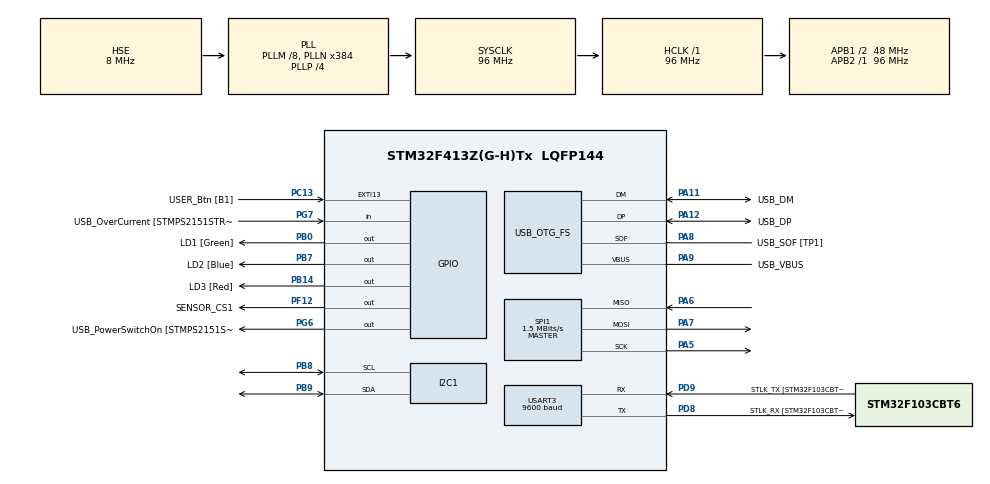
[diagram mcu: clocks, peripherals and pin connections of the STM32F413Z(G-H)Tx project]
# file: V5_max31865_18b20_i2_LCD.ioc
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Mcu.Family=STM32F4
Mcu.Name=STM32F413Z(G-H)Tx
Mcu.Package=LQFP144
NVIC.PriorityGroup=NVIC_PRIORITYGROUP_4
PA10.GPIO_Label=USB_ID
PA10.Signal=USB_OTG_FS_ID
PA11.GPIO_Label=USB_DM
PA11.Mode=Device_Only
PA11.Signal=USB_OTG_FS_DM
PA12.GPIO_Label=USB_DP
PA12.Mode=Device_Only
PA12.Signal=USB_OTG_FS_DP
PA13.GPIO_Label=TMS
PA13.Mode=Serial_Wire
PA13.Signal=SYS_JTMS-SWDIO
PA14.GPIO_Label=TCK
PA14.Mode=Serial_Wire
PA14.Signal=SYS_JTCK-SWCLK
PA5.Mode=Full_Duplex_Master
PA5.Signal=SPI1_SCK
PA6.Mode=Full_Duplex_Master
PA6.Signal=SPI1_MISO
PA7.Mode=Full_Duplex_Master
PA7.Signal=SPI1_MOSI
PA8.GPIO_Label=USB_SOF [TP1]
PA8.Mode=Activate_SOF_FS
PA8.Signal=USB_OTG_FS_SOF
PA9.GPIO_Label=USB_VBUS
PA9.Mode=Activate_VBUS
PA9.Signal=USB_OTG_FS_VBUS
PB0.GPIO_Label=LD1 [Green]
PB0.Signal=GPIO_Output
PB14.GPIO_Label=LD3 [Red]
PB14.Signal=GPIO_Output
PB3.GPIO_Label=SWO
PB3.Signal=SYS_JTDO-SWO
PB7.GPIO_Label=LD2 [Blue]
PB7.Signal=GPIO_Output
PB8.Mode=I2C
PB8.Signal=I2C1_SCL
PB9.Mode=I2C
PB9.Signal=I2C1_SDA
PC13.GPIO_Label=USER_Btn [B1]
PC13.Signal=GPXTI13
PC14-OSC32_IN.Mode=LSE-External-Oscillator
PC14-OSC32_IN.Signal=RCC_OSC32_IN
PC15-OSC32_OUT.Mode=LSE-External-Oscillator
PC15-OSC32_OUT.Signal=RCC_OSC32_OUT
PD8.GPIO_Label=STLK_RX [STM32F103CBT6_PA3]
PD8.Mode=Asynchronous
PD8.Signal=USART3_TX
PD9.GPIO_Label=STLK_TX [STM32F103CBT6_PA2]
PD9.Mode=Asynchronous
PD9.Signal=USART3_RX
PF12.GPIO_Label=SENSOR_CS1
PF12.Signal=GPIO_Output
PG6.GPIO_Label=USB_PowerSwitchOn [STMPS2151STR_EN]
PG6.Signal=GPIO_Output
PG7.GPIO_Label=USB_OverCurrent [STMPS2151STR_FAULT]
PG7.Signal=GPIO_Input
PH0\ -\ OSC_IN.GPIO_Label=MCO
PH0\ -\ OSC_IN.Mode=HSE-External-Clock-Source
PH0\ -\ OSC_IN.Signal=RCC_OSC_IN
PH1\ -\ OSC_OUT.Mode=HSE-External-Clock-Source
PH1\ -\ OSC_OUT.Signal=RCC_OSC_OUT
ProjectManager.HeapSize=0x600
ProjectManager.StackSize=0x400
ProjectManager.TargetToolchain=STM32CubeIDE
RCC.48MHZClocksFreq_Value=24000000
RCC.AHBFreq_Value=96000000
RCC.APB1CLKDivider=RCC_HCLK_DIV2
RCC.APB1Freq_Value=48000000
RCC.APB1TimFreq_Value=96000000
RCC.APB2Freq_Value=96000000
RCC.APB2TimFreq_Value=96000000
RCC.CortexFreq_Value=96000000
RCC.HCLKFreq_Value=96000000
RCC.HSE_VALUE=8000000
RCC.HSI_VALUE=16000000
RCC.PLLM=8
RCC.PLLMUL=RCC_PLL_MUL9
RCC.PLLN=384
RCC.PLLP=RCC_PLLP_DIV4
RCC.PLLQ=8
RCC.PRESCALERUSB=RCC_USBCLKSOURCE_PLL_DIV1_5
RCC.SYSCLKFreq_VALUE=96000000
RCC.SYSCLKSource=RCC_SYSCLKSOURCE_PLLCLK
RCC.SYSCLKSourceVirtual=RCC_SYSCLKSOURCE_PLLCLK
RCC.USBFreq_Value=48000000
RCC.VCOOutputFreq_Value=384000000
SPI1.BaudRatePrescaler=SPI_BAUDRATEPRESCALER_64
SPI1.CLKPhase=SPI_PHASE_2EDGE
SPI1.CalculateBaudRate=1.5 MBits/s
SPI1.Direction=SPI_DIRECTION_2LINES
SPI1.Mode=SPI_MODE_MASTER
SPI1.VirtualType=VM_MASTER
USART3.BaudRate=9600
USART3.VirtualMode=VM_ASYNC
USB_OTG_FS.VirtualMode=Device_Only
board=NUCLEO-F413ZH

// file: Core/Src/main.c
/* USER CODE BEGIN Header */
/**
  ******************************************************************************
  * @file           : main.c
  * @brief          : Main program body
  ******************************************************************************
  * @attention
  *
  * Copyright (c) 2023 STMicroelectronics.
  * All rights reserved.
  *
  * This software is licensed under terms that can be found in the LICENSE file
  * in the root directory of this software component.
  * If no LICENSE file comes with this software, it is provided AS-IS.
  *
  ******************************************************************************
  */
/* USER CODE END Header */
#include "main.h"

/* USER CODE BEGIN Includes */

#include "APP_FSM.h"

#include "API_delay.h"
#include "API_debounce.h"
#include "API_uart.h"
#include "API_LCD_I2C.h"
#include "API_usDelay.h"
#include "API_ds18b20.h"
#include "MAX31865.h"
/* USER CODE END Includes */

/* USER CODE BEGIN PD */

//===============Periodos en ms ====================
#define PERIOD_1 100
#define PERIOD_2 300

#define MENSAJE_I2C "caso1 "
#define MENSAJE_I2C_2 "caso2 "

/* USER CODE END PD */

I2C_HandleTypeDef hi2c1;

SPI_HandleTypeDef hspi1;

UART_HandleTypeDef huart3;

PCD_HandleTypeDef hpcd_USB_OTG_FS;

/* USER CODE BEGIN PV */

/* =============== Variables Definitions ====================== */
bool_t periodFlag = false;   //Bandera para conmutar entre DOS valores de Periodos
delay_t ledTimed;				//Estructura de temporizacion

/*
bool_t  inicioUart;
char uartString[50]=" ";
char lcdString[20]=" ";
char tempChar;
float	myTemp=0;
uint8_t intTemp=0;
float   pre_myTemp=0;
*/

/* ============================================================ */

/* USER CODE END PV */

void SystemClock_Config(void);
static void MX_GPIO_Init(void);
static void MX_USART3_UART_Init(void);
static void MX_USB_OTG_FS_PCD_Init(void);
static void MX_I2C1_Init(void);
static void MX_SPI1_Init(void);

int main(void)
{

  /* MCU Configuration--------------------------------------------------------*/

  /* Reset of all peripherals, Initializes the Flash interface and the Systick. */
  HAL_Init();

  /* USER CODE BEGIN Init */

  /* ========== APP Init ========== */
  APP_FSM_init();

  /* ============================== */

  /* ========== Init func ========== */
  /*
 	BSP_LED_Init(LED2);			// Se nicializa el LED2 onboard a traves de funciones de BSP

	debounceFSM_init();			// Se inicializa la maquina de estados del antirrebote de pulsador

	delayInit(&ledTimed, PERIOD_1);		// Se inicializa la estructura de temporizacion

	  lcd_begin ();
	  lcd_init ();
	  DWT_Delay_Init();

	  inicioUart = uartInit();			//inicializacion de la uart y captura de inicializacion correcta/incorrecta
	  if (!inicioUart)
	  {
		  ErrorHandler();			// en caso de inicializacion incorrecta se llava a la funcion de reporte de error
	  }

  */

  /* =========================================== */

  /* USER CODE END Init */

  /* Configure the system clock */
  SystemClock_Config();

  /* Initialize all configured peripherals */
  MX_GPIO_Init();
  MX_USART3_UART_Init();
  MX_USB_OTG_FS_PCD_Init();
  MX_I2C1_Init();
  MX_SPI1_Init();

  /* Infinite loop */
  /* USER CODE BEGIN WHILE */
  while (1)
  {
	  debounceFSM_update();		// actualiza la maquina de estados del antirrebote de pulsador

	  APP_FSM_update();

/*
	  myTemp = ds18b20_read_temp();

	 if (pre_myTemp != myTemp)
	 {
		 pre_myTemp = myTemp;
		 sprintf(lcdString, "%3.3f",myTemp);
		 lcd_clear();
		 lcd_put_cur(0, 0);
		 lcd_send_string (lcdString);
	 }

	  sprintf(uartString, "%3.3f\n\r",myTemp);
	  //DWT_Delay_us(42);
*/
	 	  	  if(readKey())							// ante la ocurrencia del preionado del pulsador se cambi el periodo del parpadeo de leds
	 	  	  	  {
	 	  		  	  if(periodFlag)					// una bandera se utiliza para conmutar el cambio de periodos de parpadeo
	 	  		  	  	  {
	 	  		  		  	  periodFlag=false;
	 	  		  		  	  delayWrite(&ledTimed, PERIOD_1);
	 	  		  		  	  //lcd_send_string (MENSAJE_I2C);
	 	  		  	  	  }
	 	  		  	  else
	 	  		  	  	  {
	 	  		  		  	  periodFlag=true;
	 	  		  			  delayWrite(&ledTimed, PERIOD_2);
	 	  		  			  //lcd_send_string (MENSAJE_I2C_2);
	 	  		  	  	  }
	 	  	  	  }

	 	  	  if(delayRead(&ledTimed))		// la funcion de temporizacion permite la inversion de estao de enciendido del led
	 	  	  	  {
	 	  		  	BSP_LED_Toggle(LED2);
	 	  		  	//intTemp =  myTemp;
	 	  		  	//sprintf(uartString, "%3.2f\n",myTemp);
	 	  		  	//uartSendString((uint8_t *) uartString);

	 	  		  	//myTemp++;
	 	  		  	//if(myTemp>250) myTemp=0;
	 	  	  	  }
	 //lcd_send_string (MENSAJE_I2C);
    /* USER CODE END WHILE */

  }
}

void SystemClock_Config(void)
{
  RCC_OscInitTypeDef RCC_OscInitStruct = {0};
  RCC_ClkInitTypeDef RCC_ClkInitStruct = {0};

  /** Configure the main internal regulator output voltage
  */
  __HAL_RCC_PWR_CLK_ENABLE();
  __HAL_PWR_VOLTAGESCALING_CONFIG(PWR_REGULATOR_VOLTAGE_SCALE1);

  /** Initializes the RCC Oscillators according to the specified parameters
  * in the RCC_OscInitTypeDef structure.
  */
  RCC_OscInitStruct.OscillatorType = RCC_OSCILLATORTYPE_HSE;
  RCC_OscInitStruct.HSEState = RCC_HSE_BYPASS;
  RCC_OscInitStruct.PLL.PLLState = RCC_PLL_ON;
  RCC_OscInitStruct.PLL.PLLSource = RCC_PLLSOURCE_HSE;
  RCC_OscInitStruct.PLL.PLLM = 8;
  RCC_OscInitStruct.PLL.PLLN = 384;
  RCC_OscInitStruct.PLL.PLLP = RCC_PLLP_DIV4;
  RCC_OscInitStruct.PLL.PLLQ = 8;
  RCC_OscInitStruct.PLL.PLLR = 2;
  if (HAL_RCC_OscConfig(&RCC_OscInitStruct) != HAL_OK)
  {
    Error_Handler();
  }

  /** Initializes the CPU, AHB and APB buses clocks
  */
  RCC_ClkInitStruct.ClockType = RCC_CLOCKTYPE_HCLK|RCC_CLOCKTYPE_SYSCLK
                              |RCC_CLOCKTYPE_PCLK1|RCC_CLOCKTYPE_PCLK2;
  RCC_ClkInitStruct.SYSCLKSource = RCC_SYSCLKSOURCE_PLLCLK;
  RCC_ClkInitStruct.AHBCLKDivider = RCC_SYSCLK_DIV1;
  RCC_ClkInitStruct.APB1CLKDivider = RCC_HCLK_DIV2;
  RCC_ClkInitStruct.APB2CLKDivider = RCC_HCLK_DIV1;

  if (HAL_RCC_ClockConfig(&RCC_ClkInitStruct, FLASH_LATENCY_3) != HAL_OK)
  {
    Error_Handler();
  }
}

static void MX_I2C1_Init(void)
{

  hi2c1.Instance = I2C1;
  hi2c1.Init.ClockSpeed = 100000;
  hi2c1.Init.DutyCycle = I2C_DUTYCYCLE_2;
  hi2c1.Init.OwnAddress1 = 0;
  hi2c1.Init.AddressingMode = I2C_ADDRESSINGMODE_7BIT;
  hi2c1.Init.DualAddressMode = I2C_DUALADDRESS_DISABLE;
  hi2c1.Init.OwnAddress2 = 0;
  hi2c1.Init.GeneralCallMode = I2C_GENERALCALL_DISABLE;
  hi2c1.Init.NoStretchMode = I2C_NOSTRETCH_DISABLE;
  if (HAL_I2C_Init(&hi2c1) != HAL_OK)
  {
    Error_Handler();
  }

}

static void MX_SPI1_Init(void)
{

  /* SPI1 parameter configuration*/
  hspi1.Instance = SPI1;
  hspi1.Init.Mode = SPI_MODE_MASTER;
  hspi1.Init.Direction = SPI_DIRECTION_2LINES;
  hspi1.Init.DataSize = SPI_DATASIZE_8BIT;
  hspi1.Init.CLKPolarity = SPI_POLARITY_LOW;
  hspi1.Init.CLKPhase = SPI_PHASE_2EDGE;
  hspi1.Init.NSS = SPI_NSS_SOFT;
  hspi1.Init.BaudRatePrescaler = SPI_BAUDRATEPRESCALER_64;
  hspi1.Init.FirstBit = SPI_FIRSTBIT_MSB;
  hspi1.Init.TIMode = SPI_TIMODE_DISABLE;
  hspi1.Init.CRCCalculation = SPI_CRCCALCULATION_DISABLE;
  hspi1.Init.CRCPolynomial = 10;
  if (HAL_SPI_Init(&hspi1) != HAL_OK)
  {
    Error_Handler();
  }

}

static void MX_USART3_UART_Init(void)
{

  huart3.Instance = USART3;
  huart3.Init.BaudRate = 9600;
  huart3.Init.WordLength = UART_WORDLENGTH_8B;
  huart3.Init.StopBits = UART_STOPBITS_1;
  huart3.Init.Parity = UART_PARITY_NONE;
  huart3.Init.Mode = UART_MODE_TX_RX;
  huart3.Init.HwFlowCtl = UART_HWCONTROL_NONE;
  huart3.Init.OverSampling = UART_OVERSAMPLING_16;
  if (HAL_UART_Init(&huart3) != HAL_OK)
  {
    Error_Handler();
  }

}

static void MX_USB_OTG_FS_PCD_Init(void)
{

  hpcd_USB_OTG_FS.Instance = USB_OTG_FS;
  hpcd_USB_OTG_FS.Init.dev_endpoints = 6;
  hpcd_USB_OTG_FS.Init.speed = PCD_SPEED_FULL;
  hpcd_USB_OTG_FS.Init.dma_enable = DISABLE;
  hpcd_USB_OTG_FS.Init.phy_itface = PCD_PHY_EMBEDDED;
  hpcd_USB_OTG_FS.Init.Sof_enable = ENABLE;
  hpcd_USB_OTG_FS.Init.low_power_enable = DISABLE;
  hpcd_USB_OTG_FS.Init.lpm_enable = DISABLE;
  hpcd_USB_OTG_FS.Init.battery_charging_enable = ENABLE;
  hpcd_USB_OTG_FS.Init.vbus_sensing_enable = ENABLE;
  hpcd_USB_OTG_FS.Init.use_dedicated_ep1 = DISABLE;
  if (HAL_PCD_Init(&hpcd_USB_OTG_FS) != HAL_OK)
  {
    Error_Handler();
  }

}

static void MX_GPIO_Init(void)
{
  GPIO_InitTypeDef GPIO_InitStruct = {0};

  /* GPIO Ports Clock Enable */
  __HAL_RCC_GPIOC_CLK_ENABLE();
  __HAL_RCC_GPIOH_CLK_ENABLE();
  __HAL_RCC_GPIOA_CLK_ENABLE();
  __HAL_RCC_GPIOB_CLK_ENABLE();
  __HAL_RCC_GPIOF_CLK_ENABLE();
  __HAL_RCC_GPIOD_CLK_ENABLE();
  __HAL_RCC_GPIOG_CLK_ENABLE();

  /*Configure GPIO pin Output Level */
  HAL_GPIO_WritePin(GPIOB, LD1_Pin|LD3_Pin|LD2_Pin, GPIO_PIN_RESET);

  /*Configure GPIO pin Output Level */
  HAL_GPIO_WritePin(SENSOR_CS1_GPIO_Port, SENSOR_CS1_Pin, GPIO_PIN_RESET);

  /*Configure GPIO pin Output Level */
  HAL_GPIO_WritePin(USB_PowerSwitchOn_GPIO_Port, USB_PowerSwitchOn_Pin, GPIO_PIN_RESET);

  /*Configure GPIO pin : USER_Btn_Pin */
  GPIO_InitStruct.Pin = USER_Btn_Pin;
  GPIO_InitStruct.Mode = GPIO_MODE_IT_RISING;
  GPIO_InitStruct.Pull = GPIO_NOPULL;
  HAL_GPIO_Init(USER_Btn_GPIO_Port, &GPIO_InitStruct);

  /*Configure GPIO pins : LD1_Pin LD3_Pin LD2_Pin */
  GPIO_InitStruct.Pin = LD1_Pin|LD3_Pin|LD2_Pin;
  GPIO_InitStruct.Mode = GPIO_MODE_OUTPUT_PP;
  GPIO_InitStruct.Pull = GPIO_NOPULL;
  GPIO_InitStruct.Speed = GPIO_SPEED_FREQ_LOW;
  HAL_GPIO_Init(GPIOB, &GPIO_InitStruct);

  /*Configure GPIO pin : SENSOR_CS1_Pin */
  GPIO_InitStruct.Pin = SENSOR_CS1_Pin;
  GPIO_InitStruct.Mode = GPIO_MODE_OUTPUT_PP;
  GPIO_InitStruct.Pull = GPIO_NOPULL;
  GPIO_InitStruct.Speed = GPIO_SPEED_FREQ_LOW;
  HAL_GPIO_Init(SENSOR_CS1_GPIO_Port, &GPIO_InitStruct);

  /*Configure GPIO pin : USB_PowerSwitchOn_Pin */
  GPIO_InitStruct.Pin = USB_PowerSwitchOn_Pin;
  GPIO_InitStruct.Mode = GPIO_MODE_OUTPUT_PP;
  GPIO_InitStruct.Pull = GPIO_NOPULL;
  GPIO_InitStruct.Speed = GPIO_SPEED_FREQ_LOW;
  HAL_GPIO_Init(USB_PowerSwitchOn_GPIO_Port, &GPIO_InitStruct);

  /*Configure GPIO pin : USB_OverCurrent_Pin */
  GPIO_InitStruct.Pin = USB_OverCurrent_Pin;
  GPIO_InitStruct.Mode = GPIO_MODE_INPUT;
  GPIO_InitStruct.Pull = GPIO_NOPULL;
  HAL_GPIO_Init(USB_OverCurrent_GPIO_Port, &GPIO_InitStruct);

}

void Error_Handler(void)
{
  /* USER CODE BEGIN Error_Handler_Debug */
  /* User can add his own implementation to report the HAL error return state */
  /* Si un error ocurre el USER LED RED permanece encendido*/
	HAL_GPIO_WritePin(GPIOB, LD3_Pin, GPIO_PIN_SET);
  __disable_irq();
  while (1)
  {
  }
  /* USER CODE END Error_Handler_Debug */
}
